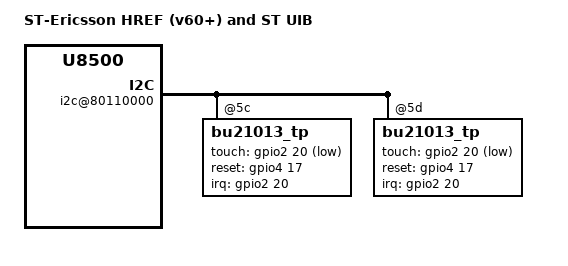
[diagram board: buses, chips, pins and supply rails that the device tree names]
// SPDX-License-Identifier: GPL-2.0-or-later
/*
 * Copyright 2012 ST-Ericsson AB
 *
 * Device Tree for the HREF version 60 or later with the ST UIB
 */

/dts-v1/;
#include <dt-bindings/gpio/gpio.h>
#include <dt-bindings/interrupt-controller/irq.h>
#include "ste-hrefv60plus.dtsi"
#include "ste-href-stuib.dtsi"

/ {
	model = "ST-Ericsson HREF (v60+) and ST UIB";
	compatible = "st-ericsson,hrefv60+", "st-ericsson,u8500";

	/* This stablilizes the serial port enumeration */
	aliases {
		serial0 = &ux500_serial0;
		serial1 = &ux500_serial1;
		serial2 = &ux500_serial2;
	};

	soc {
		/* Reset line for the BU21013 touchscreen */
		i2c@80110000 {
			/* Only one of these will be used */
			bu21013_tp@5c {
				interrupt-parent = <&gpio2>;
				interrupts = <20 IRQ_TYPE_LEVEL_LOW>;
				touch-gpios = <&gpio2 20 GPIO_ACTIVE_LOW>;
				reset-gpios = <&gpio4 17 GPIO_LINE_OPEN_DRAIN>;
			};
			bu21013_tp@5d {
				interrupt-parent = <&gpio2>;
				interrupts = <20 IRQ_TYPE_LEVEL_LOW>;
				touch-gpios = <&gpio2 20 GPIO_ACTIVE_LOW>;
				reset-gpios = <&gpio4 17 GPIO_LINE_OPEN_DRAIN>;
			};
		};
	};
};
